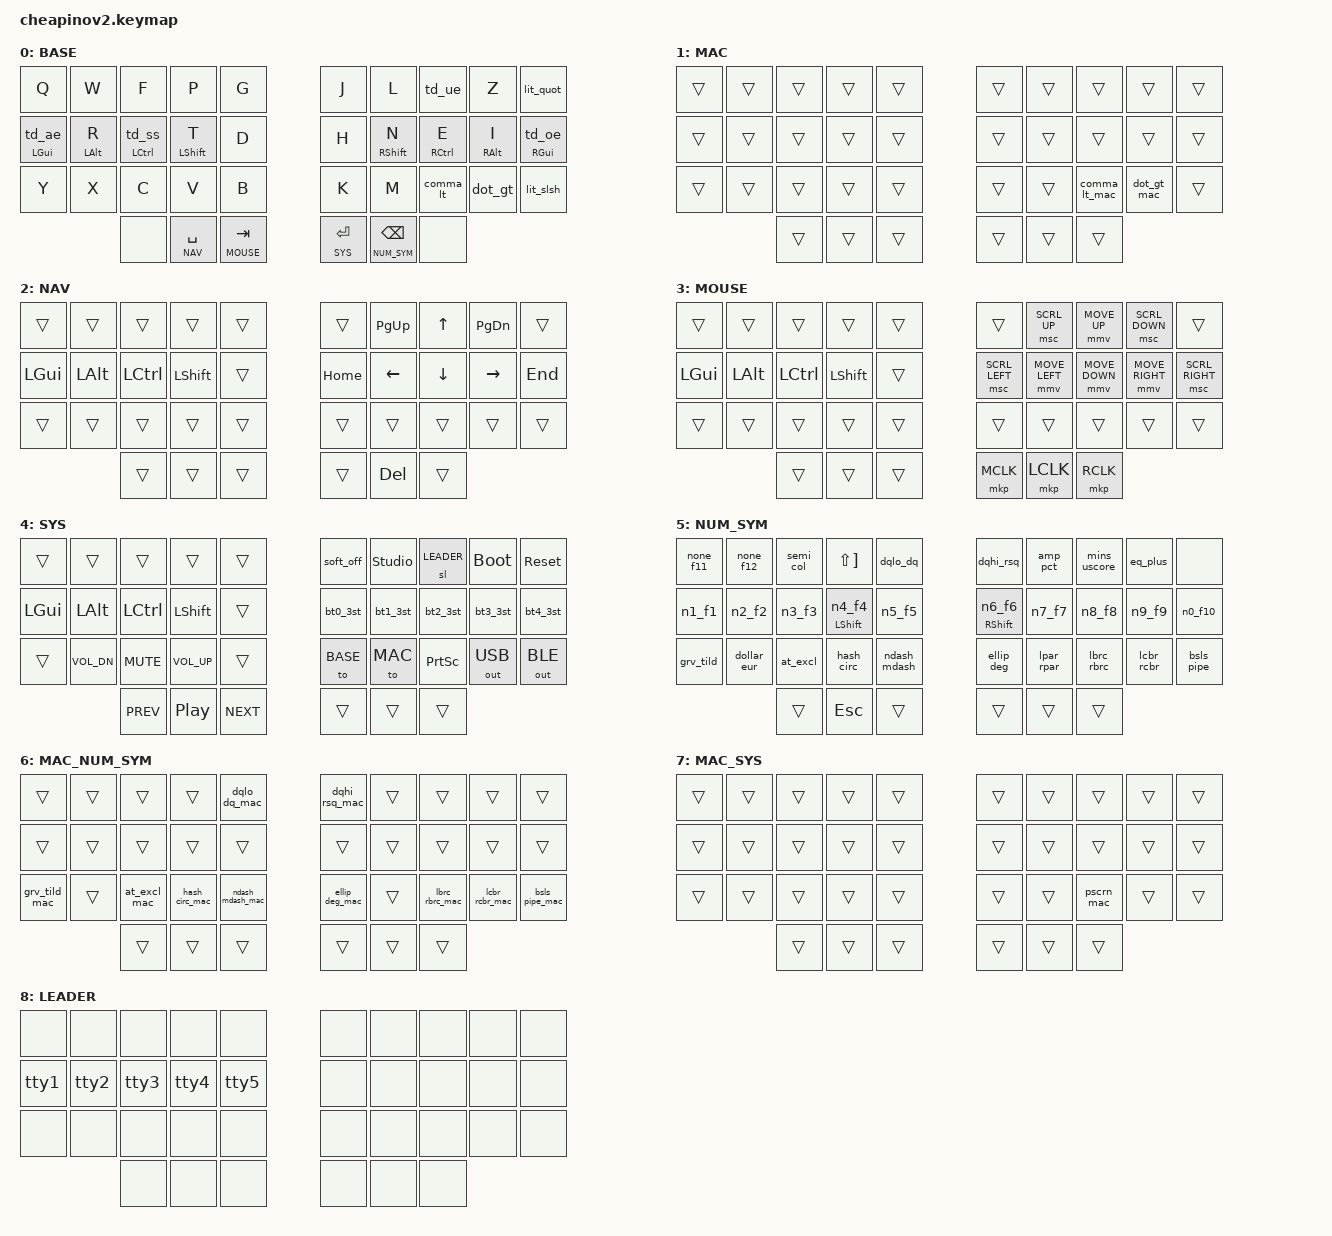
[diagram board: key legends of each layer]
/*
 * Cheapino v2 - Toby Keymap (ZMK Port) - HRM + Thumb-Layer Variante
 *
 * Layer-Aufbau:
 *   BASE        - Colemak DH (DE-Layout), HRMs auf Home Row (GACS, gespiegelt)
 *                 Tap-Dance auf A/O/U/S fuer Aeumlauts.
 *                 Pos 30/35 frei. Pos 31-34 Layer-Taps zu den 4 Sub-Layern.
 *   MAC         - Sentinel-Layer ueber BASE; aktiviert/deaktiviert idempotent via
 *                 &to MAC / &to BASE auf SYS. Ueberschreibt nur OS-Quirks.
 *   NAV         - Pos 31 SPC hold. Pfeile/Home/End rechts, pure Mods links,
 *                 Pos 34=DEL (Hold SPC + Tap BSPC = DEL).
 *   MOUSE       - Pos 32 TAB hold. Mouse-Cursor/Scroll rechts, pure Mods links,
 *                 Klicks rechts.
 *   SYS         - Pos 33 ENT hold. BT 3-state, Reset, Studio, MAC-Toggle, Leader.
 *   NUM_SYM     - Pos 34 BSPC hold. Zahlen/Symbole/F-Keys (Shift = F-Key).
 *                 Pos 31=ESC (Hold BSPC + Tap SPC = ESC).
 *   MAC_NUM_SYM - conditional ueber NUM_SYM+MAC; Mac-Symbol-Overrides.
 *   MAC_SYS     - conditional ueber SYS+MAC; PSCRN -> Mac-Screenshot.
 *   LEADER      - sticky-layer via SYS Pos 25; TTY-Switch.
 *
 * HRMs (Home Row, GACS, gespiegelt):
 *   Links:  A=GUI, R=Alt, S=Ctrl, T=Shift
 *   Rechts: N=Shift, E=Ctrl, I=Alt, O=GUI
 *   Cross-hand-only via hold-trigger-key-positions.
 *
 * Tap-Dance Umlauts:
 *   A double-tap = ae, O double-tap = oe, U double-tap = ue, S double-tap = ss
 *   (Shift+double-tap = Ae/Oe/Ue/SS via mod-morph)
 *   tapping-term-ms = 180 (kurz genug fuer flow, lang genug fuer Doppeltap)
 *
 * Annahme: deutsches Layout auf dem Host (Linux/Win DIN 2137 oder macOS DE).
 */

#include <behaviors.dtsi>
#include <dt-bindings/zmk/keys.h>
#include <dt-bindings/zmk/bt.h>

#define ZMK_POINTING_DEFAULT_MOVE_VAL 1800
#define ZMK_POINTING_DEFAULT_SCRL_VAL 10
#include <dt-bindings/zmk/pointing.h>
#include <dt-bindings/zmk/outputs.h>

/* Layer-Reihenfolge: MAC direkt ueber BASE (Sentinel-Overlay),
 * Hold-Layer NAV/MOUSE/SYS/NUM_SYM darueber.
 * Conditional Layer (MAC_NUM_SYM, MAC_SYS) ganz oben fuer ihre Overrides.
 *
 * OS-Modus-Wechsel via SYS-Layer:
 *   &to BASE -> idempotent "Linux/Standard"-Modus (MAC off)
 *   &to MAC  -> idempotent "Mac"-Modus (MAC on)
 * Beide deaktivieren alle anderen Layer ausser Layer 0; Momentary-Layer
 * (NAV/MOUSE/SYS/NUM_SYM via &lt) sind unbetroffen, weil sie nur waehrend
 * Hold aktiv sind.
 */
#define BASE          0
#define MAC           1
#define NAV           2
#define MOUSE         3
#define SYS           4
#define NUM_SYM       5
#define MAC_NUM_SYM   6
#define MAC_SYS       7
#define LEADER        8

/*
 * Matrix-Positionen:
 *   0  1  2  3  4        5  6  7  8  9
 *  10 11 12 13 14       15 16 17 18 19
 *  20 21 22 23 24       25 26 27 28 29
 *         30 31 32      33 34 35
 */

/* DE-layout symbol aliases (Linux/Win DIN 2137). */
#define DE_LCBR RA(N7)
#define DE_RCBR RA(N0)
#define DE_LBRC RA(N8)
#define DE_RBRC RA(N9)
#define DE_BSLS RA(MINUS)
#define DE_AT   RA(Q)
#define DE_EURO RA(E)
#define DE_PIPE RA(NON_US_BACKSLASH)
#define DE_TILD RA(RIGHT_BRACKET)
#define DE_HASH NON_US_HASH
#define DE_ADIA SQT
#define DE_ODIA SEMI
#define DE_UDIA LBKT
#define DE_SS   MINUS

/* macOS German layout (Option-key combos). */
#define DE_LCBR_MAC LA(N8)
#define DE_RCBR_MAC LA(N9)
#define DE_LBRC_MAC LA(N5)
#define DE_RBRC_MAC LA(N6)
#define DE_BSLS_MAC LA(LS(N7))
#define DE_AT_MAC   LA(L)
#define DE_PIPE_MAC LA(N7)

&mmv {
    time-to-max-speed-ms = <100>;
    acceleration-exponent = <3>;
};

&msc {
    time-to-max-speed-ms = <500>;
    acceleration-exponent = <0>;
};

&mt {
    tapping-term-ms = <200>;
    quick-tap-ms = <150>;
    flavor = "balanced";
};

&lt {
    tapping-term-ms = <200>;
    quick-tap-ms = <150>;
    flavor = "balanced";
};

&caps_word {
    continue-list = <UNDERSCORE MINUS BACKSPACE DELETE KP_MINUS SLASH SQT SEMI LBKT>;
};

/ {
    macros {
        /* Linux DE-Compose Typography */
        de_circ: de_circumflex {
            compatible = "zmk,behavior-macro"; #binding-cells = <0>;
            wait-ms = <0>; tap-ms = <0>;
            bindings = <&macro_tap &kp GRAVE &kp SPACE>;
        };
        /* Mac-DE-ISO: Apple swap GRAVE <-> NON_US_BACKSLASH */
        de_circ_mac: de_circumflex_mac {
            compatible = "zmk,behavior-macro"; #binding-cells = <0>;
            wait-ms = <0>; tap-ms = <0>;
            bindings = <&macro_tap &kp NON_US_BACKSLASH &kp SPACE>;
        };
        de_grv: de_grave_literal {
            compatible = "zmk,behavior-macro"; #binding-cells = <0>;
            wait-ms = <0>; tap-ms = <0>;
            bindings = <&macro_tap &kp LS(EQL) &kp SPACE>;
        };
        mdash: em_dash { compatible = "zmk,behavior-macro"; #binding-cells = <0>;
            bindings = <&macro_tap &kp SCROLLLOCK &kp SLASH &kp SLASH &kp SLASH>; };
        ndash: en_dash { compatible = "zmk,behavior-macro"; #binding-cells = <0>;
            bindings = <&macro_tap &kp SCROLLLOCK &kp SLASH &kp SLASH &kp DOT>; };
        ellip: ellipsis { compatible = "zmk,behavior-macro"; #binding-cells = <0>;
            bindings = <&macro_tap &kp SCROLLLOCK &kp DOT &kp DOT>; };
        dqlo: de_dq_low { compatible = "zmk,behavior-macro"; #binding-cells = <0>;
            bindings = <&macro_tap &kp SCROLLLOCK &kp LS(N2) &kp COMMA>; };
        dqhi: de_sq_low { compatible = "zmk,behavior-macro"; #binding-cells = <0>;
            bindings = <&macro_tap &kp SCROLLLOCK &kp LS(NON_US_HASH) &kp COMMA>; };
        dquote: de_dq_high { compatible = "zmk,behavior-macro"; #binding-cells = <0>;
            bindings = <&macro_tap &kp SCROLLLOCK &kp LS(N2) &kp NON_US_BACKSLASH>; };
        rsquote: right_single_quote { compatible = "zmk,behavior-macro"; #binding-cells = <0>;
            bindings = <&macro_tap &kp SCROLLLOCK &kp LS(NON_US_HASH) &kp LS(NON_US_BACKSLASH)>; };
        degree: degree_sign { compatible = "zmk,behavior-macro"; #binding-cells = <0>;
            bindings = <&macro_tap &kp SCROLLLOCK &kp O &kp O>; };

        /* macOS native typography (Option-key shortcuts) */
        mdash_mac: mdash_mac { compatible = "zmk,behavior-macro"; #binding-cells = <0>;
            bindings = <&macro_tap &kp LA(LS(SLASH))>; };
        ndash_mac: ndash_mac { compatible = "zmk,behavior-macro"; #binding-cells = <0>;
            bindings = <&macro_tap &kp LA(SLASH)>; };
        ellip_mac: ellip_mac { compatible = "zmk,behavior-macro"; #binding-cells = <0>;
            bindings = <&macro_tap &kp LA(DOT)>; };
        dqlo_mac: dqlo_mac { compatible = "zmk,behavior-macro"; #binding-cells = <0>;
            bindings = <&macro_tap &kp LA(NON_US_BACKSLASH)>; };
        dqhi_mac: dqhi_mac { compatible = "zmk,behavior-macro"; #binding-cells = <0>;
            bindings = <&macro_tap &kp LA(S)>; };
        dquote_mac: dquote_mac { compatible = "zmk,behavior-macro"; #binding-cells = <0>;
            bindings = <&macro_tap &kp LA(N2)>; };
        rsquote_mac: rsquote_mac { compatible = "zmk,behavior-macro"; #binding-cells = <0>;
            bindings = <&macro_tap &kp LA(LS(NON_US_HASH))>; };
        de_tild_mac: de_tild_mac { compatible = "zmk,behavior-macro"; #binding-cells = <0>;
            bindings = <&macro_tap &kp LA(N) &kp SPACE>; };
        degree_mac: degree_mac { compatible = "zmk,behavior-macro"; #binding-cells = <0>;
            bindings = <&macro_tap &kp LS(NON_US_BACKSLASH)>; };

        /* macOS Screenshot: Shift+Ctrl+Cmd+4 (selection -> clipboard) */
        pscrn_mac: pscrn_mac { compatible = "zmk,behavior-macro"; #binding-cells = <0>;
            bindings = <&macro_tap &kp LC(LG(LS(N4)))>; };

        /* Linux TTY-Switch via Leader */
        tty1: tty1 { compatible = "zmk,behavior-macro"; #binding-cells = <0>;
            bindings = <&macro_tap &kp LC(LA(F1))>; };
        tty2: tty2 { compatible = "zmk,behavior-macro"; #binding-cells = <0>;
            bindings = <&macro_tap &kp LC(LA(F2))>; };
        tty3: tty3 { compatible = "zmk,behavior-macro"; #binding-cells = <0>;
            bindings = <&macro_tap &kp LC(LA(F3))>; };
        tty4: tty4 { compatible = "zmk,behavior-macro"; #binding-cells = <0>;
            bindings = <&macro_tap &kp LC(LA(F4))>; };
        tty5: tty5 { compatible = "zmk,behavior-macro"; #binding-cells = <0>;
            bindings = <&macro_tap &kp LC(LA(F5))>; };
    };

    behaviors {
        /* ===== Home Row Mods (urob-Stil, timeless) =====
         * Cross-hand-only trigger. require-prior-idle-ms verhindert Mis-fires
         * im Flow-Tippen.
         */
        hml: home_row_mod_left {
            compatible = "zmk,behavior-hold-tap";
            #binding-cells = <2>;
            flavor = "balanced";
            tapping-term-ms = <280>;
            quick-tap-ms = <175>;
            require-prior-idle-ms = <150>;
            bindings = <&kp>, <&kp>;
            hold-trigger-key-positions = <5 6 7 8 9 15 16 17 18 19 25 26 27 28 29 33 34 35>;
            hold-trigger-on-release;
        };
        hmr: home_row_mod_right {
            compatible = "zmk,behavior-hold-tap";
            #binding-cells = <2>;
            flavor = "balanced";
            tapping-term-ms = <280>;
            quick-tap-ms = <175>;
            require-prior-idle-ms = <150>;
            bindings = <&kp>, <&kp>;
            hold-trigger-key-positions = <0 1 2 3 4 10 11 12 13 14 20 21 22 23 24 30 31 32>;
            hold-trigger-on-release;
        };

        /* ===== Tap-Dance fuer Umlauts =====
         * Single tap = Buchstabe, Double tap (innerhalb 180ms) = Umlaut.
         * Umlauten sind Mod-Morphs, so dass Shift+Double-Tap = Ae/Oe/Ue/SS.
         */
        td_ae: tap_dance_ae {
            compatible = "zmk,behavior-tap-dance"; #binding-cells = <0>;
            tapping-term-ms = <180>;
            bindings = <&kp A>, <&ae_m>;
        };
        td_oe: tap_dance_oe {
            compatible = "zmk,behavior-tap-dance"; #binding-cells = <0>;
            tapping-term-ms = <180>;
            bindings = <&kp O>, <&oe_m>;
        };
        td_ue: tap_dance_ue {
            compatible = "zmk,behavior-tap-dance"; #binding-cells = <0>;
            tapping-term-ms = <180>;
            bindings = <&kp U>, <&ue_m>;
        };
        td_ss: tap_dance_ss {
            compatible = "zmk,behavior-tap-dance"; #binding-cells = <0>;
            tapping-term-ms = <180>;
            bindings = <&kp S>, <&ss_m>;
        };

        /* HRM-Wrapper mit Tap-Dance als Tap-Binding (ZMK builtin &hml erwartet
         * <&kp>, <&kp>, daher brauchen die HRM-Positionen mit Umlaut eigene
         * Hold-Tap-Behaviors mit fixed tap-binding auf das jeweilige td_*.
         * #binding-cells = <2>: behavior-hold-tap Schema verlangt 2 (const).
         * Der zweite Param wird vom Tap-Binding (&td_*, 0 cells) ignoriert.
         * Aufruf: &hml_ae LGUI 0  (das 0 ist Dummy).
         */
        hml_ae: hml_with_ae {
            compatible = "zmk,behavior-hold-tap"; #binding-cells = <2>;
            flavor = "balanced";
            tapping-term-ms = <280>;
            quick-tap-ms = <175>;
            require-prior-idle-ms = <150>;
            bindings = <&kp>, <&td_ae>;
            hold-trigger-key-positions = <5 6 7 8 9 15 16 17 18 19 25 26 27 28 29 33 34 35>;
            hold-trigger-on-release;
        };
        hml_ss: hml_with_ss {
            compatible = "zmk,behavior-hold-tap"; #binding-cells = <2>;
            flavor = "balanced";
            tapping-term-ms = <280>;
            quick-tap-ms = <175>;
            require-prior-idle-ms = <150>;
            bindings = <&kp>, <&td_ss>;
            hold-trigger-key-positions = <5 6 7 8 9 15 16 17 18 19 25 26 27 28 29 33 34 35>;
            hold-trigger-on-release;
        };
        hmr_oe: hmr_with_oe {
            compatible = "zmk,behavior-hold-tap"; #binding-cells = <2>;
            flavor = "balanced";
            tapping-term-ms = <280>;
            quick-tap-ms = <175>;
            require-prior-idle-ms = <150>;
            bindings = <&kp>, <&td_oe>;
            hold-trigger-key-positions = <0 1 2 3 4 10 11 12 13 14 20 21 22 23 24 30 31 32>;
            hold-trigger-on-release;
        };

        /* ===== NUM_SYM Shift-HRMs auf Pos 13 (N4) und Pos 16 (N6) =====
         * Cross-hand-only Shift, damit F-Keys und shifted Symbole im NUM_SYM
         * erreichbar werden, ohne pure Mods auf den Zahlen-Positionen zu legen.
         * Tap = jeweilige Zahl (mit shift-morph fuer F-Key), Hold = Shift.
         * Aufruf: &num_shft_l LSHFT 0 / &num_shft_r RSHFT 0
         */
        num_shft_l: num_shift_left {
            compatible = "zmk,behavior-hold-tap"; #binding-cells = <2>;
            flavor = "balanced";
            tapping-term-ms = <200>;
            quick-tap-ms = <150>;
            bindings = <&kp>, <&n4_f4>;
            hold-trigger-key-positions = <5 6 7 8 9 15 16 17 18 19 25 26 27 28 29 33 34 35>;
            hold-trigger-on-release;
        };
        num_shft_r: num_shift_right {
            compatible = "zmk,behavior-hold-tap"; #binding-cells = <2>;
            flavor = "balanced";
            tapping-term-ms = <200>;
            quick-tap-ms = <150>;
            bindings = <&kp>, <&n6_f6>;
            hold-trigger-key-positions = <0 1 2 3 4 10 11 12 13 14 20 21 22 23 24 30 31 32>;
            hold-trigger-on-release;
        };

        /* ===== BASE Mod-Morphs ===== */
        ae_m: umlaut_ae { compatible = "zmk,behavior-mod-morph"; #binding-cells = <0>;
            bindings = <&kp DE_ADIA>, <&kp LS(DE_ADIA)>;
            mods = <(MOD_LSFT|MOD_RSFT)>; };
        oe_m: umlaut_oe { compatible = "zmk,behavior-mod-morph"; #binding-cells = <0>;
            bindings = <&kp DE_ODIA>, <&kp LS(DE_ODIA)>;
            mods = <(MOD_LSFT|MOD_RSFT)>; };
        ue_m: umlaut_ue { compatible = "zmk,behavior-mod-morph"; #binding-cells = <0>;
            bindings = <&kp DE_UDIA>, <&kp LS(DE_UDIA)>;
            mods = <(MOD_LSFT|MOD_RSFT)>; };
        ss_m: eszett { compatible = "zmk,behavior-mod-morph"; #binding-cells = <0>;
            bindings = <&kp DE_SS>, <&kp LS(DE_SS)>;
            mods = <(MOD_LSFT|MOD_RSFT)>; };

        comma_lt: comma_lessthan {
            compatible = "zmk,behavior-mod-morph"; #binding-cells = <0>;
            bindings = <&kp COMMA>, <&kp NON_US_BACKSLASH>;
            mods = <(MOD_LSFT|MOD_RSFT)>; keep-mods = <0>;
        };
        dot_gt: dot_greaterthan {
            compatible = "zmk,behavior-mod-morph"; #binding-cells = <0>;
            bindings = <&kp DOT>, <&kp LS(NON_US_BACKSLASH)>;
            mods = <(MOD_LSFT|MOD_RSFT)>; keep-mods = <0>;
        };
        lit_quot: literal_quote {
            compatible = "zmk,behavior-mod-morph"; #binding-cells = <0>;
            bindings = <&kp LS(DE_HASH)>, <&kp LS(N2)>;
            mods = <(MOD_LSFT|MOD_RSFT)>; keep-mods = <0>;
        };
        lit_slsh: literal_slash {
            compatible = "zmk,behavior-mod-morph"; #binding-cells = <0>;
            bindings = <&kp LS(N7)>, <&kp LS(MINUS)>;
            mods = <(MOD_LSFT|MOD_RSFT)>; keep-mods = <0>;
        };

        /* Apple-ISO-Swap-Korrekturen fuer < / > / ^ */
        comma_lt_mac: comma_lessthan_mac {
            compatible = "zmk,behavior-mod-morph"; #binding-cells = <0>;
            bindings = <&kp COMMA>, <&kp GRAVE>;
            mods = <(MOD_LSFT|MOD_RSFT)>; keep-mods = <0>; };
        dot_gt_mac: dot_greaterthan_mac {
            compatible = "zmk,behavior-mod-morph"; #binding-cells = <0>;
            bindings = <&kp DOT>, <&kp LS(GRAVE)>;
            mods = <(MOD_LSFT|MOD_RSFT)>; keep-mods = <0>; };

        /* ===== BT-Profile 3-state mod-morphs =====
         * Tap = Select profile
         * Alt+Tap = Disconnect (Bond bleibt erhalten)
         * Ctrl+Alt+Tap = Clear (Bond loeschen)
         *
         * Nested: outer checks Ctrl -> clear, inner checks Alt -> disc, default = select.
         */
        bt0_inner: bt0_inner { compatible = "zmk,behavior-mod-morph"; #binding-cells = <0>;
            bindings = <&bt BT_SEL 0>, <&bt BT_DISC 0>;
            mods = <(MOD_LALT|MOD_RALT)>; keep-mods = <0>; };
        bt1_inner: bt1_inner { compatible = "zmk,behavior-mod-morph"; #binding-cells = <0>;
            bindings = <&bt BT_SEL 1>, <&bt BT_DISC 1>;
            mods = <(MOD_LALT|MOD_RALT)>; keep-mods = <0>; };
        bt2_inner: bt2_inner { compatible = "zmk,behavior-mod-morph"; #binding-cells = <0>;
            bindings = <&bt BT_SEL 2>, <&bt BT_DISC 2>;
            mods = <(MOD_LALT|MOD_RALT)>; keep-mods = <0>; };
        bt3_inner: bt3_inner { compatible = "zmk,behavior-mod-morph"; #binding-cells = <0>;
            bindings = <&bt BT_SEL 3>, <&bt BT_DISC 3>;
            mods = <(MOD_LALT|MOD_RALT)>; keep-mods = <0>; };
        bt4_inner: bt4_inner { compatible = "zmk,behavior-mod-morph"; #binding-cells = <0>;
            bindings = <&bt BT_SEL 4>, <&bt BT_DISC 4>;
            mods = <(MOD_LALT|MOD_RALT)>; keep-mods = <0>; };

        /* Ctrl+Alt+Tap = clear (active profile only).
         * Note: BT_CLR clears whichever profile is currently selected. So
         * the outer morph first selects, then clears, via macros below.
         */
        bt0_clr: bt0_clr { compatible = "zmk,behavior-macro"; #binding-cells = <0>;
            bindings = <&macro_tap &bt BT_SEL 0 &bt BT_CLR>; };
        bt1_clr: bt1_clr { compatible = "zmk,behavior-macro"; #binding-cells = <0>;
            bindings = <&macro_tap &bt BT_SEL 1 &bt BT_CLR>; };
        bt2_clr: bt2_clr { compatible = "zmk,behavior-macro"; #binding-cells = <0>;
            bindings = <&macro_tap &bt BT_SEL 2 &bt BT_CLR>; };
        bt3_clr: bt3_clr { compatible = "zmk,behavior-macro"; #binding-cells = <0>;
            bindings = <&macro_tap &bt BT_SEL 3 &bt BT_CLR>; };
        bt4_clr: bt4_clr { compatible = "zmk,behavior-macro"; #binding-cells = <0>;
            bindings = <&macro_tap &bt BT_SEL 4 &bt BT_CLR>; };

        bt0_3st: bt0_3st { compatible = "zmk,behavior-mod-morph"; #binding-cells = <0>;
            bindings = <&bt0_inner>, <&bt0_clr>;
            mods = <(MOD_LCTL|MOD_RCTL)>; keep-mods = <0>; };
        bt1_3st: bt1_3st { compatible = "zmk,behavior-mod-morph"; #binding-cells = <0>;
            bindings = <&bt1_inner>, <&bt1_clr>;
            mods = <(MOD_LCTL|MOD_RCTL)>; keep-mods = <0>; };
        bt2_3st: bt2_3st { compatible = "zmk,behavior-mod-morph"; #binding-cells = <0>;
            bindings = <&bt2_inner>, <&bt2_clr>;
            mods = <(MOD_LCTL|MOD_RCTL)>; keep-mods = <0>; };
        bt3_3st: bt3_3st { compatible = "zmk,behavior-mod-morph"; #binding-cells = <0>;
            bindings = <&bt3_inner>, <&bt3_clr>;
            mods = <(MOD_LCTL|MOD_RCTL)>; keep-mods = <0>; };
        bt4_3st: bt4_3st { compatible = "zmk,behavior-mod-morph"; #binding-cells = <0>;
            bindings = <&bt4_inner>, <&bt4_clr>;
            mods = <(MOD_LCTL|MOD_RCTL)>; keep-mods = <0>; };

        /* Output toggle: Tap = BLE, Shift+Tap = USB */
        out_tog: out_tog { compatible = "zmk,behavior-mod-morph"; #binding-cells = <0>;
            bindings = <&out OUT_BLE>, <&out OUT_USB>;
            mods = <(MOD_LSFT|MOD_RSFT)>; keep-mods = <0>; };

        /* ===== NUM_SYM Layer Mod-Morphs (Tap = Symbol/Ziffer, Shift = F-Key) ===== */
        n1_f1: n1_f1 { compatible = "zmk,behavior-mod-morph"; #binding-cells = <0>;
            bindings = <&kp N1>, <&kp F1>;
            mods = <(MOD_LSFT|MOD_RSFT)>; keep-mods = <0>; };
        n2_f2: n2_f2 { compatible = "zmk,behavior-mod-morph"; #binding-cells = <0>;
            bindings = <&kp N2>, <&kp F2>;
            mods = <(MOD_LSFT|MOD_RSFT)>; keep-mods = <0>; };
        n3_f3: n3_f3 { compatible = "zmk,behavior-mod-morph"; #binding-cells = <0>;
            bindings = <&kp N3>, <&kp F3>;
            mods = <(MOD_LSFT|MOD_RSFT)>; keep-mods = <0>; };
        n4_f4: n4_f4 { compatible = "zmk,behavior-mod-morph"; #binding-cells = <0>;
            bindings = <&kp N4>, <&kp F4>;
            mods = <(MOD_LSFT|MOD_RSFT)>; keep-mods = <0>; };
        n5_f5: n5_f5 { compatible = "zmk,behavior-mod-morph"; #binding-cells = <0>;
            bindings = <&kp N5>, <&kp F5>;
            mods = <(MOD_LSFT|MOD_RSFT)>; keep-mods = <0>; };
        n6_f6: n6_f6 { compatible = "zmk,behavior-mod-morph"; #binding-cells = <0>;
            bindings = <&kp N6>, <&kp F6>;
            mods = <(MOD_LSFT|MOD_RSFT)>; keep-mods = <0>; };
        n7_f7: n7_f7 { compatible = "zmk,behavior-mod-morph"; #binding-cells = <0>;
            bindings = <&kp N7>, <&kp F7>;
            mods = <(MOD_LSFT|MOD_RSFT)>; keep-mods = <0>; };
        n8_f8: n8_f8 { compatible = "zmk,behavior-mod-morph"; #binding-cells = <0>;
            bindings = <&kp N8>, <&kp F8>;
            mods = <(MOD_LSFT|MOD_RSFT)>; keep-mods = <0>; };
        n9_f9: n9_f9 { compatible = "zmk,behavior-mod-morph"; #binding-cells = <0>;
            bindings = <&kp N9>, <&kp F9>;
            mods = <(MOD_LSFT|MOD_RSFT)>; keep-mods = <0>; };
        n0_f10: n0_f10 { compatible = "zmk,behavior-mod-morph"; #binding-cells = <0>;
            bindings = <&kp N0>, <&kp F10>;
            mods = <(MOD_LSFT|MOD_RSFT)>; keep-mods = <0>; };

        none_f11: none_f11 { compatible = "zmk,behavior-mod-morph"; #binding-cells = <0>;
            bindings = <&none>, <&kp F11>;
            mods = <(MOD_LSFT|MOD_RSFT)>; keep-mods = <0>; };
        none_f12: none_f12 { compatible = "zmk,behavior-mod-morph"; #binding-cells = <0>;
            bindings = <&none>, <&kp F12>;
            mods = <(MOD_LSFT|MOD_RSFT)>; keep-mods = <0>; };
        semi_col: semi_col { compatible = "zmk,behavior-mod-morph"; #binding-cells = <0>;
            bindings = <&kp LS(COMMA)>, <&kp LS(DOT)>;
            mods = <(MOD_LSFT|MOD_RSFT)>; keep-mods = <0>; };
        dqlo_dq: dqlo_dq { compatible = "zmk,behavior-mod-morph"; #binding-cells = <0>;
            bindings = <&dqlo>, <&dquote>;
            mods = <(MOD_LSFT|MOD_RSFT)>; keep-mods = <0>; };

        grv_tild: grv_tild { compatible = "zmk,behavior-mod-morph"; #binding-cells = <0>;
            bindings = <&de_grv>, <&kp DE_TILD>;
            mods = <(MOD_LSFT|MOD_RSFT)>; keep-mods = <0>; };
        dollar_eur: dollar_eur { compatible = "zmk,behavior-mod-morph"; #binding-cells = <0>;
            bindings = <&kp LS(N4)>, <&kp DE_EURO>;
            mods = <(MOD_LSFT|MOD_RSFT)>; keep-mods = <0>; };
        at_excl: at_excl { compatible = "zmk,behavior-mod-morph"; #binding-cells = <0>;
            bindings = <&kp DE_AT>, <&kp LS(N1)>;
            mods = <(MOD_LSFT|MOD_RSFT)>; keep-mods = <0>; };
        hash_circ: hash_circ { compatible = "zmk,behavior-mod-morph"; #binding-cells = <0>;
            bindings = <&kp DE_HASH>, <&de_circ>;
            mods = <(MOD_LSFT|MOD_RSFT)>; keep-mods = <0>; };
        ndash_mdash: ndash_mdash { compatible = "zmk,behavior-mod-morph"; #binding-cells = <0>;
            bindings = <&ndash>, <&mdash>;
            mods = <(MOD_LSFT|MOD_RSFT)>; keep-mods = <0>; };

        dqhi_rsq: dqhi_rsq { compatible = "zmk,behavior-mod-morph"; #binding-cells = <0>;
            bindings = <&dqhi>, <&rsquote>;
            mods = <(MOD_LSFT|MOD_RSFT)>; keep-mods = <0>; };
        amp_pct: amp_pct { compatible = "zmk,behavior-mod-morph"; #binding-cells = <0>;
            bindings = <&kp LS(N6)>, <&kp LS(N5)>;
            mods = <(MOD_LSFT|MOD_RSFT)>; keep-mods = <0>; };
        mins_uscore: mins_uscore { compatible = "zmk,behavior-mod-morph"; #binding-cells = <0>;
            bindings = <&kp SLASH>, <&kp LS(SLASH)>;
            mods = <(MOD_LSFT|MOD_RSFT)>; keep-mods = <0>; };
        eq_plus: eq_plus { compatible = "zmk,behavior-mod-morph"; #binding-cells = <0>;
            bindings = <&kp LS(N0)>, <&kp RBKT>;
            mods = <(MOD_LSFT|MOD_RSFT)>; keep-mods = <0>; };

        ellip_deg: ellip_deg { compatible = "zmk,behavior-mod-morph"; #binding-cells = <0>;
            bindings = <&ellip>, <&degree>;
            mods = <(MOD_LSFT|MOD_RSFT)>; keep-mods = <0>; };
        lpar_rpar: lpar_rpar { compatible = "zmk,behavior-mod-morph"; #binding-cells = <0>;
            bindings = <&kp LS(N8)>, <&kp LS(N9)>;
            mods = <(MOD_LSFT|MOD_RSFT)>; keep-mods = <0>; };
        lbrc_rbrc: lbrc_rbrc { compatible = "zmk,behavior-mod-morph"; #binding-cells = <0>;
            bindings = <&kp DE_LBRC>, <&kp DE_RBRC>;
            mods = <(MOD_LSFT|MOD_RSFT)>; keep-mods = <0>; };
        lcbr_rcbr: lcbr_rcbr { compatible = "zmk,behavior-mod-morph"; #binding-cells = <0>;
            bindings = <&kp DE_LCBR>, <&kp DE_RCBR>;
            mods = <(MOD_LSFT|MOD_RSFT)>; keep-mods = <0>; };
        bsls_pipe: bsls_pipe { compatible = "zmk,behavior-mod-morph"; #binding-cells = <0>;
            bindings = <&kp DE_BSLS>, <&kp DE_PIPE>;
            mods = <(MOD_LSFT|MOD_RSFT)>; keep-mods = <0>; };

        /* MAC_NUM_SYM Mod-Morphs (Mac Option-Combos statt AltGr) */
        grv_tild_mac: grv_tild_mac { compatible = "zmk,behavior-mod-morph"; #binding-cells = <0>;
            bindings = <&de_grv>, <&de_tild_mac>;
            mods = <(MOD_LSFT|MOD_RSFT)>; keep-mods = <0>; };
        at_excl_mac: at_excl_mac { compatible = "zmk,behavior-mod-morph"; #binding-cells = <0>;
            bindings = <&kp DE_AT_MAC>, <&kp LS(N1)>;
            mods = <(MOD_LSFT|MOD_RSFT)>; keep-mods = <0>; };
        hash_circ_mac: hash_circ_mac { compatible = "zmk,behavior-mod-morph"; #binding-cells = <0>;
            bindings = <&kp DE_HASH>, <&de_circ_mac>;
            mods = <(MOD_LSFT|MOD_RSFT)>; keep-mods = <0>; };
        lbrc_rbrc_mac: lbrc_rbrc_mac { compatible = "zmk,behavior-mod-morph"; #binding-cells = <0>;
            bindings = <&kp DE_LBRC_MAC>, <&kp DE_RBRC_MAC>;
            mods = <(MOD_LSFT|MOD_RSFT)>; keep-mods = <0>; };
        lcbr_rcbr_mac: lcbr_rcbr_mac { compatible = "zmk,behavior-mod-morph"; #binding-cells = <0>;
            bindings = <&kp DE_LCBR_MAC>, <&kp DE_RCBR_MAC>;
            mods = <(MOD_LSFT|MOD_RSFT)>; keep-mods = <0>; };
        bsls_pipe_mac: bsls_pipe_mac { compatible = "zmk,behavior-mod-morph"; #binding-cells = <0>;
            bindings = <&kp DE_BSLS_MAC>, <&kp DE_PIPE_MAC>;
            mods = <(MOD_LSFT|MOD_RSFT)>; keep-mods = <0>; };
        dqlo_dq_mac: dqlo_dq_mac { compatible = "zmk,behavior-mod-morph"; #binding-cells = <0>;
            bindings = <&dqlo_mac>, <&dquote_mac>;
            mods = <(MOD_LSFT|MOD_RSFT)>; keep-mods = <0>; };
        dqhi_rsq_mac: dqhi_rsq_mac { compatible = "zmk,behavior-mod-morph"; #binding-cells = <0>;
            bindings = <&dqhi_mac>, <&rsquote_mac>;
            mods = <(MOD_LSFT|MOD_RSFT)>; keep-mods = <0>; };
        ndash_mdash_mac: ndash_mdash_mac { compatible = "zmk,behavior-mod-morph"; #binding-cells = <0>;
            bindings = <&ndash_mac>, <&mdash_mac>;
            mods = <(MOD_LSFT|MOD_RSFT)>; keep-mods = <0>; };
        ellip_deg_mac: ellip_deg_mac { compatible = "zmk,behavior-mod-morph"; #binding-cells = <0>;
            bindings = <&ellip_mac>, <&degree_mac>;
            mods = <(MOD_LSFT|MOD_RSFT)>; keep-mods = <0>; };
    };

    conditional_layers {
        compatible = "zmk,conditional-layers";
        mac_num_sym_overlay {
            if-layers = <NUM_SYM MAC>;
            then-layer = <MAC_NUM_SYM>;
        };
        mac_sys_overlay {
            if-layers = <SYS MAC>;
            then-layer = <MAC_SYS>;
        };
    };

    combos {
        compatible = "zmk,combos";

        /* Clipboard Linux/Win (BASE) */
        combo_cut    { timeout-ms = <50>; key-positions = <20 21>; bindings = <&kp LC(X)>; layers = <BASE>; };
        combo_copy   { timeout-ms = <50>; key-positions = <21 22>; bindings = <&kp LC(C)>; layers = <BASE>; };
        combo_paste  { timeout-ms = <50>; key-positions = <22 23>; bindings = <&kp LC(V)>; layers = <BASE>; };

        /* Clipboard Mac (MAC) */
        combo_cut_mac    { timeout-ms = <50>; key-positions = <20 21>; bindings = <&kp LG(X)>; layers = <MAC>; };
        combo_copy_mac   { timeout-ms = <50>; key-positions = <21 22>; bindings = <&kp LG(C)>; layers = <MAC>; };
        combo_paste_mac  { timeout-ms = <50>; key-positions = <22 23>; bindings = <&kp LG(V)>; layers = <MAC>; };

        /* Caps-Word: SPC + BSPC simultan (klassisch "both shifts") */
        combo_caps { timeout-ms = <50>; key-positions = <31 34>; bindings = <&caps_word>; layers = <BASE MAC>; };
    };

    keymap {
        compatible = "zmk,keymap";

        /*
         * BASE - Colemak (DE-Layout).
         * Home Row: HRMs mit GACS, beide Haende gespiegelt.
         * A/O/U/S: Tap-Dance fuer Umlauts (double-tap = Ae/Oe/Ue/SS).
         * Thumbs: Pos 30/35 frei; Pos 31-34 sind Layer-Taps zu NAV/MOUSE/SYS/NUM_SYM.
         */
        BASE {
            bindings = <
&kp Q          &kp W        &kp F          &kp P         &kp G              &kp J            &kp L             &td_ue        &kp Z        &lit_quot
&hml_ae LGUI 0 &hml LALT R  &hml_ss LCTRL 0 &hml LSHFT T &kp D              &kp H            &hmr RSHFT N      &hmr RCTRL E  &hmr RALT I  &hmr_oe RGUI 0
&kp Y          &kp X        &kp C          &kp V         &kp B              &kp K            &kp M             &comma_lt     &dot_gt      &lit_slsh
                            &none          &lt NAV SPACE &lt MOUSE TAB      &lt SYS ENTER    &lt NUM_SYM BSPC  &none
            >;
        };

        /*
         * MAC - Sentinel-Overlay ueber BASE. Aktiviert/deaktiviert via
         * &to MAC / &to BASE im SYS-Layer. Ueberschreibt nur OS-Quirks
         * (Apple-ISO-Swap fuer comma/dot).
         */
        MAC {
            bindings = <
&trans  &trans  &trans  &trans  &trans     &trans  &trans  &trans         &trans         &trans
&trans  &trans  &trans  &trans  &trans     &trans  &trans  &trans         &trans         &trans
&trans  &trans  &trans  &trans  &trans     &trans  &trans  &comma_lt_mac  &dot_gt_mac    &trans
                &trans  &trans  &trans     &trans  &trans  &trans
            >;
        };

        /*
         * NAV - Pos 31 (SPC) hold.
         * Rechts: Pfeil-Cluster + PG_UP/DN/HOME/END
         * Links: pure Mods auf Home-Row (LGUI/LALT/LCTRL/LSHFT) fuer Same-Hand-Mod+NAV
         * Pos 34 = DEL (hold SPC + tap BSPC -> DEL)
         */
        NAV {
            bindings = <
&trans    &trans     &trans     &trans     &trans            &trans    &kp PG_UP  &kp UP    &kp PG_DN  &trans
&kp LGUI  &kp LALT   &kp LCTRL  &kp LSHFT  &trans            &kp HOME  &kp LEFT   &kp DOWN  &kp RIGHT  &kp END
&trans    &trans     &trans     &trans     &trans            &trans    &trans     &trans    &trans     &trans
                     &trans     &trans     &trans            &trans    &kp DEL    &trans
            >;
        };

        /*
         * MOUSE - Pos 32 (TAB) hold.
         * Rechts: Cursor (mid row) + Scroll (top row), Klicks auf Pos 33/34/35.
         * Links: pure Mods fuer Mod+Click.
         */
        MOUSE {
            bindings = <
&trans    &trans     &trans     &trans     &trans           &trans          &msc SCRL_UP    &mmv MOVE_UP    &msc SCRL_DOWN   &trans
&kp LGUI  &kp LALT   &kp LCTRL  &kp LSHFT  &trans           &msc SCRL_LEFT  &mmv MOVE_LEFT  &mmv MOVE_DOWN  &mmv MOVE_RIGHT  &msc SCRL_RIGHT
&trans    &trans     &trans     &trans     &trans           &trans          &trans          &trans          &trans           &trans
                     &trans     &trans     &trans           &mkp MCLK       &mkp LCLK       &mkp RCLK
            >;
        };

        /*
         * SYS - Pos 33 (ENT) hold.
         * Rechts: BT 3-state (tap=select, Alt+tap=disc, Ctrl+Alt+tap=clear),
         *         Reset, Studio, MAC-Toggle, PSCRN, Output.
         * Links: pure Mods (fuer Mod-Combinations bei BT-Profilen).
         * Pos 25 = sticky LEADER fuer TTY-Switch.
         */
        SYS {
            bindings = <
&trans    &trans        &trans      &trans        &trans          &soft_off    &studio_unlock  &sl LEADER    &bootloader   &sys_reset
&kp LGUI  &kp LALT      &kp LCTRL   &kp LSHFT     &trans          &bt0_3st     &bt1_3st        &bt2_3st      &bt3_3st      &bt4_3st
&trans    &kp C_VOL_DN  &kp C_MUTE  &kp C_VOL_UP  &trans          &to BASE     &to MAC         &kp PSCRN     &out OUT_USB  &out OUT_BLE
                        &kp C_PREV  &kp C_PP      &kp C_NEXT      &trans       &trans          &trans
            >;
        };

        /*
         * NUM_SYM - Pos 34 (BSPC) hold.
         * Zahlen/Symbole/F-Keys (Shift = F-Key bzw. shifted Symbol).
         * Pos 31 = ESC (hold BSPC + tap SPC -> ESC).
         */
        NUM_SYM {
            bindings = <
&none_f11   &none_f12   &semi_col    &kp LS(RBKT) &dqlo_dq        &dqhi_rsq    &amp_pct  &mins_uscore  &eq_plus    &none
&n1_f1      &n2_f2      &n3_f3       &num_shft_l LSHFT 0  &n5_f5  &num_shft_r RSHFT 0  &n7_f7    &n8_f8        &n9_f9      &n0_f10
&grv_tild   &dollar_eur &at_excl     &hash_circ   &ndash_mdash    &ellip_deg   &lpar_rpar &lbrc_rbrc   &lcbr_rcbr  &bsls_pipe
                        &trans       &kp ESC      &trans          &trans       &trans     &trans
            >;
        };

        /*
         * MAC_NUM_SYM - conditional ueber NUM_SYM + MAC.
         * Ueberschreibt nur die Symbole, deren macOS-DE-Eingabe Option statt AltGr nutzt.
         */
        MAC_NUM_SYM {
            bindings = <
&trans         &trans     &trans         &trans          &dqlo_dq_mac      &dqhi_rsq_mac   &trans   &trans         &trans         &trans
&trans         &trans     &trans         &trans          &trans            &trans          &trans   &trans         &trans         &trans
&grv_tild_mac  &trans     &at_excl_mac   &hash_circ_mac  &ndash_mdash_mac  &ellip_deg_mac  &trans   &lbrc_rbrc_mac &lcbr_rcbr_mac &bsls_pipe_mac
                          &trans         &trans          &trans            &trans          &trans   &trans
            >;
        };

        /*
         * MAC_SYS - conditional ueber SYS + MAC.
         * Ueberschreibt PSCRN auf Pos 27 mit Mac-Screenshot (Shift+Ctrl+Cmd+4).
         */
        MAC_SYS {
            bindings = <
&trans  &trans  &trans  &trans  &trans     &trans  &trans  &trans       &trans  &trans
&trans  &trans  &trans  &trans  &trans     &trans  &trans  &trans       &trans  &trans
&trans  &trans  &trans  &trans  &trans     &trans  &trans  &pscrn_mac   &trans  &trans
                &trans  &trans  &trans     &trans  &trans  &trans
            >;
        };

        /*
         * LEADER - sticky-layer via SYS Pos 25.
         * Erste Taste nach Aktivierung interpretiert, dann Layer wieder weg.
         * Pos 10-14 (Reihe 2 links) = tty1..tty5 (Linux Ctrl+Alt+F1..F5).
         */
        LEADER {
            bindings = <
&none  &none  &none  &none  &none      &none  &none  &none  &none  &none
&tty1  &tty2  &tty3  &tty4  &tty5      &none  &none  &none  &none  &none
&none  &none  &none  &none  &none      &none  &none  &none  &none  &none
                &none  &none  &none      &none  &none  &none
            >;
        };
    };
};
